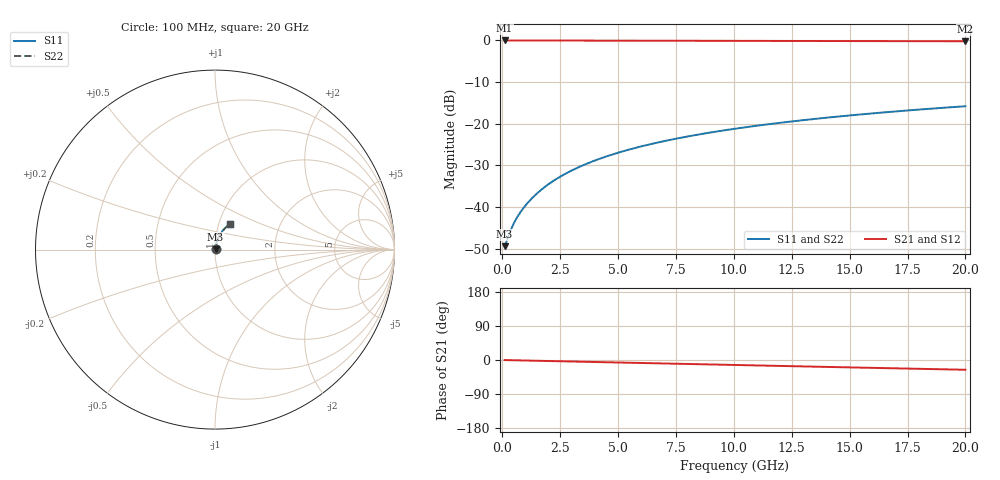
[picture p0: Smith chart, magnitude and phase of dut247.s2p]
! Touchstone file exported from HFSS 2026.1.0
!  File:  C:/ffzhzh/LocalFiles/Ansys_Project_Files/temp_train_TMRDL_247_1782984782_40604.aedt
!  Generated:  05:34:10 PM Jul  2, 2026
!  Design:  TMRDL
!  Project:  temp_train_TMRDL_247_1782984782_40604
! Variables:
!  h_bsmrdl = 2um
!  h_ox = 20um
!  h_rdl = 5um
!  h_sub = 80um
!  h_tmrdl = 2.93um
!  h_tsv = 80um
!  h_via = 3um
!  l_bsmrdl = 300um
!  l_sub = 818.21um
!  l_tmrdl = 418.21um
!  m_sub = 200um
!  pitch = 26.12um
!  r_tsv = 6um
!  s_tmrdl = 10um
!  w_bsmrdl = 18um
!  w_sub = 500um
!  w_tmrdl = 16.84um
!  x_tsv_center1 = 426.63um
!  x_tsv_center2 = 744.63um
!  x_tsv_center3 = 1179.68um
!  x_tsv_center4 = 1497.68um
!  x_tsv_center5 = 1932.73um
!  x_tsv_center6 = 2250.73um
# GHz S MA R 50.000000
! Terminal data exported
! Port[1] = TM_RDL1_1_T1
! Port[2] = TM_RDL1_1_T2
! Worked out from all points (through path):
!   200 points, 100 MHz to 20 GHz, reference 50 ohm
!   highest |S21| = -0.03 dB at 100 MHz (marker M1); lowest = -0.2 dB at 20 GHz (marker M2)
!   group delay of S21, straight-line fit = 3.57 ps
!   lowest |S11| = -49.4 dB at 100 MHz (marker M3), VSWR 1.01, Z = 50.3 + j0.113 ohm
!   |S11| at or under -10 dB: start of sweep to end of sweep
!   |S22| runs from -49.4 to -15.8 dB; largest |S21 - S12| = 3.1e-15
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0.1  0.0034 19.3  0.9968 -0.1  0.9968 -0.1  0.0034 19.3
! Gamma 0 0 0 0
! Port Impedance 50 0 50 0
0.4  0.005574 48.8  0.9964 -0.6  0.9964 -0.6  0.005574 48.8
0.6  0.007208 56.4  0.9961 -0.8  0.9961 -0.8  0.007208 56.4
0.7  0.008017 59.1  0.996 -1.0  0.996 -1.0  0.008017 59.1
0.9  0.009635 63.1  0.9958 -1.2  0.9958 -1.2  0.009635 63.1
1.1  0.01127 66.2  0.9957 -1.5  0.9957 -1.5  0.01127 66.2
1.3  0.01292 68.5  0.9956 -1.8  0.9956 -1.8  0.01292 68.5
1.5  0.0146 70.2  0.9955 -2.0  0.9955 -2.0  0.0146 70.2
1.8  0.01714 72.2  0.9953 -2.4  0.9953 -2.4  0.01714 72.2
2.3  0.02144 74.3  0.9951 -3.1  0.9951 -3.1  0.02144 74.3
2.9  0.02665 75.6  0.9948 -3.9  0.9948 -3.9  0.02665 75.6
3.5  0.03187 76.2  0.9945 -4.7  0.9945 -4.7  0.03187 76.2
4.2  0.03796 76.4  0.994 -5.6  0.994 -5.6  0.03796 76.4
5  0.04488 76.2  0.9934 -6.6  0.9934 -6.6  0.04488 76.2
5.9  0.05261 75.6  0.9926 -7.8  0.9926 -7.8  0.05261 75.6
6.8  0.06025 74.9  0.9918 -9.0  0.9918 -9.0  0.06025 74.9
8.3  0.07279 73.4  0.9902 -10.9  0.9902 -10.9  0.07279 73.4
10.1  0.0875 71.5  0.9882 -13.3  0.9882 -13.3  0.0875 71.5
11.7  0.1003 69.7  0.9862 -15.3  0.9862 -15.3  0.1003 69.7
13.4  0.1135 67.7  0.984 -17.5  0.984 -17.5  0.1135 67.7
16.7  0.1384 63.9  0.9796 -21.6  0.9796 -21.6  0.1384 63.9
20  0.1621 60.1  0.9749 -25.8  0.9749 -25.8  0.1621 60.1
